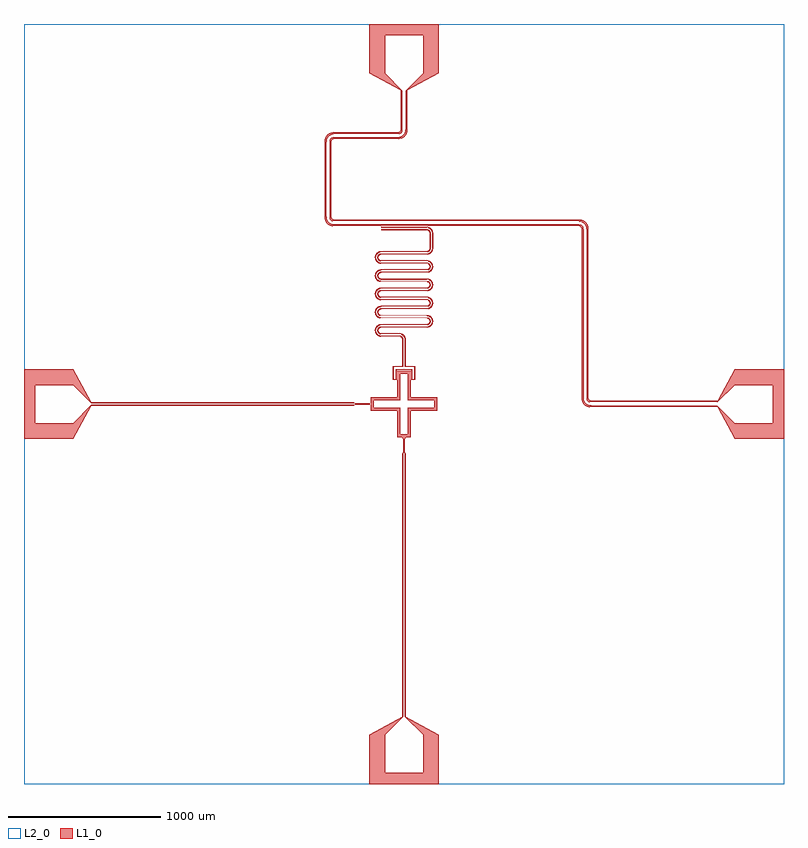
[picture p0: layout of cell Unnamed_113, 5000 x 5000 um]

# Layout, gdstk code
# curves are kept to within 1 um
import gdstk
lib = gdstk.Library(unit=1e-6, precision=1e-09)
def R(c, l, rs):  # rectangles x0, y0, x1, y1
    for r in rs: c.add(gdstk.rectangle(r[:2], r[2:], *l))
def P(c, l, *ps):  # polygons
    for p in ps: c.add(gdstk.Polygon(p, *l))
L1_0 = (1, 0)
L2_0 = (2, 0)

unnamed_113 = lib.new_cell('Unnamed_113')
P(unnamed_113, L1_0, [(-228,-2500),(-228,-2177),(-10,-2057),(-10,-326),(-4,-316),(-5,-229),(-2,-229),(-2,-316),(-5,-326),(-5,-2057),(-125,-2177),(-125,-2427),(125,-2427),(125,-2177),(5,-2057),(5,-326),(2,-316),(2,-225),(-11,-225),(-11,-223),(13,-223),(13,-225),(4,-225),(4,-316),(10,-326),(10,-2057),(228,-2177),(228,-2500)],
  [(-44,-220),(-44,-44),(-220,-44),(-220,44),(-44,44),(-44,200),(-24,200),(-24,24),(-200,24),(-200,-24),(-24,-24),(-24,-200),(24,-200),(24,-24),(200,-24),(200,24),(24,24),(24,200),(-44,200),(-44,220),(44,220),(44,44),(220,44),(220,-44),(44,-44),(44,-220)],
  [(-2500,-228),(-2500,125),(-2427,125),(-2427,-125),(-2177,-125),(-2057,-5),(-331,-5),(-320.5,-2.5),(-227,-2.5),(-227,2.5),(-320.5,2.5),(-331,5),(-2057,5),(-2177,125),(-2500,125),(-2500,228),(-2177,228),(-2057.55,11),(-331,11),(-320.5,5.5),(-224,5.5),(-224,-5.5),(-320.5,-5.5),(-331,-11),(-2057.55,-11),(-2177,-228)],
  [(-73,159),(-73,249),(-11.002,249),(-11.002,423.956),(-11.951,429.929),(-14.352,434.774),(-18.022,438.747),(-22.662,441.524),(-27.896,442.883),(-151.303,443.019),(-159.035,444.006),(-166.441,446.438),(-174.312,450.983),(-180.989,457.15),(-186.143,464.636),(-189.154,471.826),(-190.751,479.455),(-190.751,488.545),(-188.748,497.41),(-184.842,505.617),(-178.296,513.674),(-171.063,519.179),(-161.553,523.341),(-152.602,524.919),(152.403,525.154),(160.269,528.017),(165.816,533.476),(168.708,540.701),(168.461,548.479),(166.142,554.017),(162.21,558.554),(157.059,561.638),(150.601,562.989),(-150.089,563),(-157.762,563.74),(-166.441,566.438),(-174.312,570.983),(-180.989,577.15),(-186.143,584.636),(-189.521,593.074),(-190.957,602.049),(-190.134,612.397),(-187.298,621.033),(-181.825,629.854),(-173.252,637.772),(-164.025,642.529),(-152.602,644.919),(152.403,645.154),(159.757,647.7),(165.474,652.98),(168.594,660.109),(168.594,667.891),(166.451,673.499),(162.666,678.159),(157.059,681.638),(151.203,682.96),(-150.089,683),(-157.762,683.74),(-166.441,686.438),(-174.312,690.983),(-180.989,697.15),(-186.143,704.636),(-189.521,713.074),(-190.957,722.049),(-190.586,729.835),(-188.303,738.633),(-183.401,747.783),(-175.347,756.229),(-166.441,761.562),(-155.192,764.672),(151.203,765.04),(158.704,767.113),(164.744,772.02),(168.31,778.937),(168.708,787.299),(166.451,793.499),(162.666,798.159),(157.059,801.638),(151.203,802.96),(-150.089,803),(-157.762,803.74),(-166.441,806.438),(-173.252,810.228),(-180.121,816.18),(-184.842,822.383),(-188.748,830.59),(-190.751,839.455),(-190.751,848.545),(-189.154,856.174),(-184.139,866.711),(-176.357,875.409),(-166.441,881.562),(-155.192,884.672),(151.203,885.04),(158.704,887.113),(164.744,892.02),(168.31,898.937),(168.803,906.704),(167.021,912.437),(163.109,917.75),(157.615,921.405),(151.203,922.96),(-150.089,923),(-157.762,923.74),(-165.241,925.936),(-172.169,929.507),(-178.296,934.326),(-184.139,941.289),(-187.82,948.159),(-190.38,956.88),(-190.957,965.951),(-189.848,973.666),(-184.842,985.617),(-176.357,995.409),(-166.441,1001.562),(-153.899,1004.816),(149.954,1005),(157.338,1006.476),(161.743,1009.065),(165.298,1012.735),(167.746,1017.219),(168.912,1022.194),(168.938,1125.506),(167.281,1131.893),(163.539,1137.328),(157.891,1141.283),(151.504,1142.94),(-150.002,1143),(-150.002,1149),(151.584,1148.95),(160.021,1146.903),(167.535,1141.817),(172.739,1134.385),(174.919,1125.981),(174.797,1020.835),(173.057,1014.341),(169.892,1008.86),(165.138,1004.106),(159.657,1000.941),(149.978,999),(-153.329,998.842),(-164.035,996.064),(-172.5,990.812),(-179.743,982.453),(-184.016,972.252),(-184.963,965.665),(-184.471,957.922),(-182.698,951.509),(-179.743,945.547),(-174.947,939.448),(-169.849,935.171),(-164.035,931.936),(-156.626,929.632),(-150.042,929),(151.584,928.949),(160.021,926.902),(167.25,922.093),(172.034,915.806),(174.743,907.558),(174.293,898.106),(169.892,888.86),(162.84,882.551),(153.948,879.315),(-152.222,878.93),(-161.973,876.89),(-171.638,871.512),(-178.513,864.302),(-183.424,854.392),(-184.893,846.774),(-184.787,840.121),(-183.078,832.552),(-179.743,825.547),(-174.947,819.448),(-169.849,815.171),(-164.035,811.936),(-156.626,809.632),(-150.042,809),(151.584,808.949),(159.289,807.209),(166.667,802.631),(171.648,796.5),(174.618,788.341),(174.293,778.106),(170.362,769.499),(163.514,762.969),(153.948,759.315),(-152.222,758.93),(-161.973,756.89),(-170.754,752.185),(-177.854,745.197),(-182.698,736.491),(-184.646,728.981),(-184.893,721.226),(-183.737,714.673),(-180.853,707.47),(-176.454,701.079),(-170.754,695.815),(-164.035,691.936),(-156.626,689.632),(-150.042,689),(151.584,688.949),(159.289,687.209),(166.067,683.151),(171.241,677.18),(174.467,669.12),(174.467,658.88),(170.362,649.499),(162.84,642.551),(153.163,639.202),(-152.222,638.93),(-160.923,637.253),(-168.925,633.444),(-176.454,626.921),(-181.362,619.543),(-184.016,612.252),(-184.998,604.555),(-184.261,596.832),(-181.362,588.457),(-176.454,581.079),(-170.754,575.815),(-164.035,571.936),(-156.626,569.632),(-150.042,569),(151.584,568.949),(159.289,567.209),(166.067,563.151),(171.241,557.18),(174.293,549.894),(174.618,539.659),(170.812,530.152),(163.514,522.969),(158.548,520.508),(153.163,519.202),(-152.222,518.93),(-159.863,517.583),(-167.981,514.03),(-174.947,508.552),(-179.743,502.453),(-183.078,495.448),(-184.787,487.879),(-184.787,480.121),(-183.078,472.552),(-179.743,465.547),(-174.947,459.448),(-168.925,454.556),(-163.01,451.507),(-151.112,449.017),(-26.837,448.799),(-20.343,447.059),(-14.238,443.404),(-9.41,438.176),(-6.25,431.801),(-5.002,423.98),(-5.002,244),(-68,244),(-68,164),(-53,164),(-53,229),(53,229),(53,164),(68,164),(68,244),(4.998,244),(4.959,425.665),(2.281,437.522),(-4.671,448.153),(-14.959,455.603),(-27.228,458.89),(-149.962,459),(-157.045,460.013),(-162.157,462.154),(-167.254,465.907),(-170.816,470.152),(-173.355,475.078),(-174.747,480.442),(-174.847,486.771),(-173.355,492.922),(-170.816,497.848),(-167.254,502.093),(-162.157,505.846),(-157.045,507.987),(-150.795,508.987),(155.528,509.439),(161.969,511.11),(168.921,514.556),(174.943,519.448),(179.138,524.612),(182.694,531.509),(184.467,537.922),(184.959,545.665),(184.012,552.252),(179.739,562.453),(172.496,570.812),(164.031,576.064),(153.325,578.842),(-154.733,579.452),(-160.747,581.427),(-165.456,584.349),(-169.405,588.237),(-172.401,592.899),(-174.297,598.106),(-174.998,603.603),(-174.297,609.894),(-172.401,615.101),(-168.895,620.371),(-163.518,625.031),(-157.045,627.987),(-150.795,628.987),(155.528,629.439),(161.969,631.11),(167.977,633.97),(173.335,637.915),(178.509,643.698),(181.836,649.46),(184.257,656.832),(184.994,663.445),(184.467,670.078),(180.849,680.53),(173.335,690.085),(164.031,696.064),(153.325,698.842),(-154.733,699.452),(-160.025,701.098),(-164.824,703.869),(-168.895,707.629),(-172.038,712.194),(-174.097,717.338),(-174.973,722.81),(-174.622,728.341),(-173.06,733.658),(-169.896,739.14),(-164.824,744.131),(-158.552,747.492),(-151.588,748.949),(155.528,749.439),(161.969,751.11),(167.977,753.97),(173.335,757.915),(178.509,763.698),(181.836,769.46),(184.012,775.748),(184.959,782.335),(184.642,788.981),(181.358,799.543),(174.151,809.331),(165.041,815.603),(153.325,818.842),(-154.733,819.452),(-160.025,821.098),(-164.824,823.869),(-171.652,831.5),(-173.874,836.577),(-174.923,842.019),(-173.626,852.176),(-170.366,858.501),(-165.456,863.651),(-159.293,867.209),(-151.588,868.949),(155.528,869.439),(161.969,871.11),(167.977,873.97),(173.335,877.915),(178.509,883.698),(181.836,889.46),(184.012,895.748),(184.959,902.335),(184.642,908.981),(181.358,919.543),(174.151,929.331),(165.041,935.603),(153.325,938.842),(-153.952,939.315),(-163.518,942.969),(-170.816,950.152),(-174.622,959.659),(-174.973,965.19),(-174.097,970.662),(-170.816,977.848),(-165.456,983.651),(-159.293,987.209),(-151.588,988.949),(150.553,989.004),(157.709,989.86),(164.031,991.936),(171.634,996.488),(177.51,1002.364),(182.062,1009.967),(184.559,1018.47),(184.888,1126.774),(182.062,1138.033),(175.329,1148.153),(165.54,1155.36),(153.877,1158.785),(-150.002,1159),(-150.002,1165),(150.042,1165),(159.031,1163.993),(171.059,1159.178),(180.984,1150.85),(187.815,1139.84),(190.916,1126.6),(190.581,1018.165),(188.298,1009.368),(184.134,1001.289),(178.291,994.327),(171.059,988.822),(161.549,984.66),(150.649,983.005),(-151.207,982.96),(-157.063,981.638),(-162.214,978.554),(-166.146,974.017),(-168.465,968.479),(-168.598,960.109),(-165.478,952.98),(-159.239,947.398),(-151.207,945.04),(156.476,944.486),(164.021,942.529),(169.933,939.829),(180.117,931.82),(187.294,921.033),(190.747,908.545),(190.87,900.751),(189.517,893.074),(186.735,885.793),(182.625,879.169),(177.336,873.443),(171.059,868.821),(164.021,865.471),(156.476,863.514),(-150.605,862.989),(-156.5,861.853),(-161.266,859.299),(-165.478,855.02),(-167.956,850.214),(-168.884,841.894),(-166.146,833.983),(-160.273,828.017),(-151.808,825.087),(156.476,824.486),(168.786,820.443),(179.219,812.761),(186.735,802.207),(190.582,789.835),(190.953,782.049),(189.844,774.334),(187.294,766.967),(183.397,760.217),(178.292,754.326),(172.165,749.507),(164.021,745.471),(156.476,743.514),(-150.605,742.989),(-155.93,742.05),(-160.775,739.649),(-164.748,735.98),(-167.525,731.34),(-168.941,722.494),(-166.146,713.983),(-160.273,708.017),(-151.808,705.087),(156.476,704.486),(167.62,701.021),(178.292,693.674),(186.139,683.364),(190.376,671.12),(190.953,662.049),(189.844,654.334),(187.294,646.967),(183.397,640.217),(178.292,634.326),(172.165,629.507),(164.021,625.471),(156.476,623.514),(-150.605,622.989),(-155.355,622.229),(-160.273,619.983),(-163.958,616.891),(-167.025,612.437),(-168.598,607.891),(-168.979,603.096),(-166.455,594.501),(-160.273,588.017),(-151.808,585.087),(156.476,584.486),(167.62,581.021),(178.292,573.674),(186.139,563.364),(190.13,552.397),(190.994,544.651),(190.13,535.603),(187.816,528.159),(183.397,520.217),(178.292,514.326),(172.165,509.507),(164.021,505.471),(156.476,503.514),(-150.605,502.989),(-159.239,500.602),(-165.82,494.524),(-168.884,486.106),(-167.75,477.22),(-162.67,469.841),(-154.773,465.61),(-26.753,464.871),(-19.076,463.518),(-12.38,461.02),(-6.219,457.398),(-0.781,452.761),(4.134,446.711),(7.559,440.438),(9.843,433.666),(10.916,426.6),(10.998,249),(73,249),(73,159),(48,159),(48,224),(-48,224),(-48,159)],
  [(2177,-228),(2063.605,-22),(1233.179,-21.928),(1216.678,-20.197),(1203.077,-15.77),(1190.896,-8.125),(1181.001,2.312),(1171.875,21.237),(1169.017,45.213),(1169,1142.319),(1181,1142.319),(1181.011,45.899),(1183.306,24.929),(1190.779,9.271),(1199.037,0.725),(1209.075,-5.311),(1220.52,-8.719),(1234.359,-9.953),(2062,-10),(2177,-125),(2427,-125),(2427,125),(2177,125),(2062,10),(1236.679,10.014),(1220.026,11.934),(1208.976,18.658),(1202.761,29.61),(1201.006,46.709),(1201,1142.319),(1213,1142.319),(1213.002,47.654),(1213.725,35.468),(1216.302,28.585),(1223.363,23.463),(1237.407,22.008),(2063.605,22),(2177,228),(2500,228),(2500,-228)],
  [(1201,1142.319),(1198.474,1166.868),(1194.728,1176.188),(1188.95,1184.556),(1181.45,1191.425),(1172.29,1196.583),(1162.266,1199.571),(1149.947,1200.886),(-452.903,1201.004),(-470.193,1202.706),(-481.272,1208.909),(-488.125,1220.22),(-489.994,1237.709),(-489.986,1719.321),(-488.857,1732.856),(-485.175,1742.326),(-474.797,1751.58),(-459.167,1754.859),(-43.359,1755.047),(-24.291,1757.481),(-9.97,1764.273),(-1.824,1771.705),(4.207,1780.731),(7.98,1791.043),(9.737,1803.106),(10,2062),(125,2177),(125,2427),(-228,2427),(-228,2500),(228,2500),(228,2177),(22,2063.605),(21.53,1799.949),(18.844,1785.255),(13.457,1772.618),(5.079,1761.466),(-5.745,1752.669),(-21.824,1745.715),(-41.238,1743.1),(-455.27,1742.973),(-467.75,1741.501),(-474.551,1736.621),(-477.192,1729.989),(-477.992,1718.593),(-477.998,1238.654),(-476.917,1224.732),(-473.02,1217.622),(-465.857,1213.987),(-452.346,1213.002),(1151.201,1212.845),(1167.044,1210.819),(1180.497,1206.01),(1192.109,1198.283),(1201.637,1187.801),(1206.952,1178.526),(1210.538,1168.203),(1213,1142.319)],
  [(1169,1142.319),(1168.192,1155.989),(1165.086,1163.224),(1158.694,1167.519),(1147.193,1168.955),(-454.493,1169.014),(-469.304,1169.946),(-481.724,1172.776),(-492.76,1177.763),(-502.74,1185.171),(-511.379,1195.279),(-517.448,1207.082),(-520.868,1220.418),(-521.983,1236.213),(-521.936,1722.51),(-518.605,1745.534),(-508.944,1764.081),(-500.104,1773.125),(-489.497,1780.01),(-477.397,1784.489),(-463.511,1786.654),(-42.91,1787.069),(-29.307,1789.831),(-25.187,1793.752),(-22.956,1799.283),(-22,2063.605),(-228,2177),(-228,2427),(-125,2427),(-125,2177),(-10,2062),(-10.004,1812.097),(-11.209,1796.832),(-14.422,1788.333),(-20.322,1781.509),(-27.981,1777.275),(-38.109,1775.316),(-458.947,1774.886),(-471.424,1773.54),(-481.925,1770.311),(-491.281,1764.806),(-499.167,1757.098),(-507.191,1741.826),(-509.953,1721.641),(-509.989,1236.899),(-509.144,1223.173),(-506.449,1211.939),(-501.606,1202.253),(-494.33,1193.74),(-486.246,1187.857),(-477.305,1183.958),(-454.101,1181.011),(1148.337,1180.929),(1165.971,1177.495),(1172.342,1173.024),(1177.144,1166.658),(1180.188,1157.047),(1181,1142.319)])
R(unnamed_113, L2_0, [(-2500,-2500,2500,2500)])

lib.write_gds('Unnamed_113.gds')
